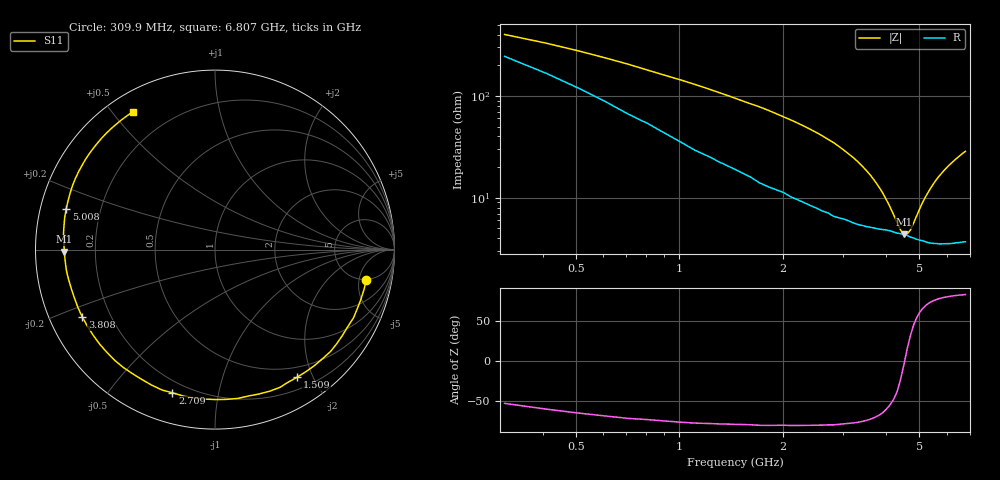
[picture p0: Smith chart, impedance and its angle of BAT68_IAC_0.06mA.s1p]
! Infineon Technologies  Discrete & RF Semiconductors
! BAT68
! IAC = 0.06 mA
! One-Port S-Parameters
# Hz  S  MA  R  50
!f  S11
!Hz  Mag  Ang
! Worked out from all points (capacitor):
!   66 points, 309.9 MHz to 6.807 GHz, reference 50 ohm
!   read as one part to ground: C = 1.36 pF near 309.9 MHz
!   lowest |Z| = 4.36 ohm at 4.508 GHz (marker M1)
!   series resonance near 4.53 GHz, so ESL is about 910 pH
!   S11 on the Smith chart (normalised r, x): 309.9 MHz: 4.88, -6.35; 1.509 GHz: 0.36, -1.77; 2.709 GHz: 0.14, -0.74; 3.808 GHz: 0.10, -0.24; 5.008 GHz: 0.08, +0.13; 6.807 GHz: 0.07, +0.57
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3.0985e8  0.8599 -11.4
5.0975e8  0.8589 -18.7
7.0965e8  0.8602 -26.2
1.0095e9  0.8572 -37.6
1.2094e9  0.8535 -45.4
1.50925e9  0.8453 -57.3
1.70915e9  0.8486 -64.8
2.009e9  0.8365 -77.3
2.2089e9  0.837 -85.4
2.4088e9  0.8348 -93.8
2.6087e9  0.8347 -102.2
2.70865e9  0.8321 -106.6
2.8086e9  0.836 -110.6
3.0085e9  0.8305 -119.6
3.2084e9  0.8319 -128.0
3.4083e9  0.8309 -136.6
3.6082e9  0.8297 -144.9
3.8081e9  0.8293 -153.1
4.10795e9  0.8296 -164.9
4.4078e9  0.8371 -175.7
4.50775e9  0.8399 -179.2
4.70765e9  0.8485 174.2
5.0075e9  0.8598 164.6
5.2074e9  0.8667 158.4
5.6072e9  0.8772 147.1
6.007e9  0.8842 137.3
6.4068e9  0.889 128.6
6.8066e9  0.894 120.8
